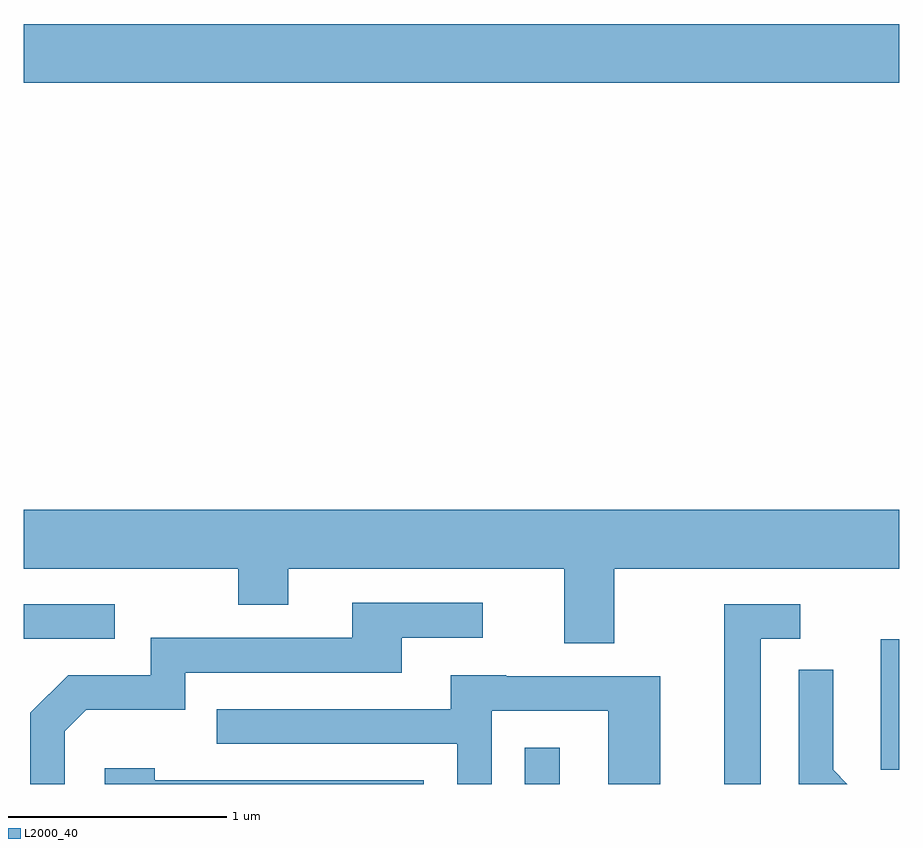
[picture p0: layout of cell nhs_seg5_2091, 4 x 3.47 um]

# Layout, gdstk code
import gdstk
lib = gdstk.Library(unit=1e-6, precision=1e-09)
def R(c, l, rs):  # rectangles x0, y0, x1, y1
    for r in rs: c.add(gdstk.rectangle(r[:2], r[2:], *l))
def P(c, l, *ps):  # polygons
    for p in ps: c.add(gdstk.Polygon(p, *l))
L2000_40 = (2000, 40)

nhs_seg5_2091 = lib.new_cell('nhs_seg5_2091')
R(nhs_seg5_2091, L2000_40, [(249.901,1418.072,250.059,1418.238), (251.526,1418.136,251.611,1418.734), (247.611,1418.736,248.028,1418.894), (247.611,1421.276,251.611,1421.544)])
P(nhs_seg5_2091, L2000_40, [(250.309,1419.056),(251.611,1419.056),(251.611,1419.324),(247.611,1419.324),(247.611,1419.056),(248.591,1419.056),(248.591,1418.891),(248.819,1418.891),(248.819,1419.056),(250.081,1419.056),(250.081,1418.716),(250.309,1418.716)],
  [(247.799,1418.314),(247.897,1418.411),(248.349,1418.411),(248.349,1418.581),(249.339,1418.581),(249.339,1418.741),(249.708,1418.741),(249.708,1418.899),(249.111,1418.899),(249.111,1418.739),(248.191,1418.739),(248.191,1418.569),(247.814,1418.569),(247.641,1418.397),(247.641,1418.072),(247.799,1418.072)],
  [(250.979,1418.736),(251.158,1418.736),(251.158,1418.894),(250.811,1418.894),(250.811,1418.072),(250.979,1418.072)],
  [(251.309,1418.137),(251.309,1418.593),(251.151,1418.593),(251.151,1418.072),(251.374,1418.072)],
  [(249.749,1418.406),(250.281,1418.406),(250.281,1418.072),(250.519,1418.072),(250.519,1418.564),(249.815,1418.564),(249.815,1418.569),(249.561,1418.569),(249.561,1418.414),(248.493,1418.414),(248.493,1418.256),(249.591,1418.256),(249.591,1418.072),(249.749,1418.072)],
  [(249.439,1418.089),(248.209,1418.089),(248.209,1418.144),(247.981,1418.144),(247.981,1418.072),(249.439,1418.072)])

lib.write_gds('nhs_seg5_2091.gds')
